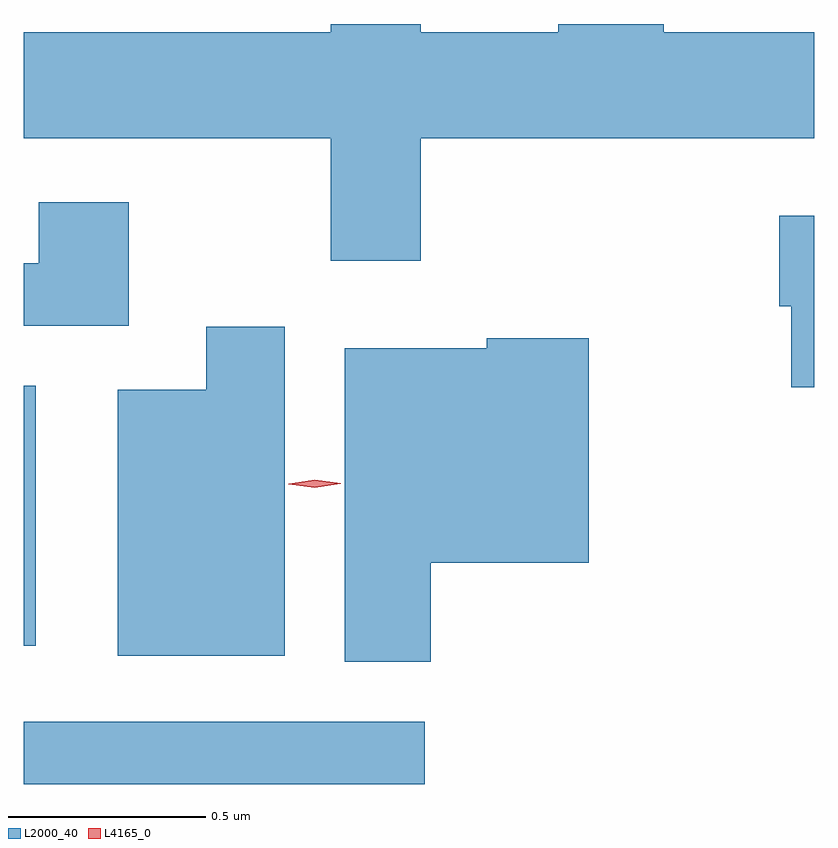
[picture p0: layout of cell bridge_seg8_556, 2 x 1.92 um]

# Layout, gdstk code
import gdstk
lib = gdstk.Library(unit=1e-6, precision=1e-09)
def R(c, l, rs):  # rectangles x0, y0, x1, y1
    for r in rs: c.add(gdstk.rectangle(r[:2], r[2:], *l))
def P(c, l, *ps):  # polygons
    for p in ps: c.add(gdstk.Polygon(p, *l))
L2000_40 = (2000, 40)
L4165_0 = (4165, 0)

bridge_seg8_556 = lib.new_cell('bridge_seg8_556')
R(bridge_seg8_556, L2000_40, [(553.384,1863.641,554.398,1863.799), (553.384,1863.991,553.414,1864.649)])
P(bridge_seg8_556, L2000_40, [(554.389,1865.276),(555.384,1865.276),(555.384,1865.544),(555.004,1865.544),(555.004,1865.565),(554.736,1865.565),(554.736,1865.544),(554.389,1865.544),(554.389,1865.565),(554.161,1865.565),(554.161,1865.544),(553.384,1865.544),(553.384,1865.276),(554.161,1865.276),(554.161,1864.966),(554.389,1864.966)],
  [(553.649,1865.114),(553.421,1865.114),(553.421,1864.959),(553.384,1864.959),(553.384,1864.801),(553.649,1864.801)],
  [(555.384,1865.079),(555.296,1865.079),(555.296,1864.851),(555.326,1864.851),(555.326,1864.646),(555.384,1864.646)],
  [(554.044,1864.799),(553.846,1864.799),(553.846,1864.639),(553.621,1864.639),(553.621,1863.966),(554.044,1863.966)],
  [(554.414,1864.201),(554.814,1864.201),(554.814,1864.769),(554.556,1864.769),(554.556,1864.744),(554.196,1864.744),(554.196,1863.951),(554.414,1863.951)])
P(bridge_seg8_556, L4165_0, [(554.12,1864.391),(554.054,1864.4),(554.053,1864.4),(554.054,1864.401),(554.12,1864.411),(554.186,1864.402),(554.186,1864.402),(554.186,1864.401)])

lib.write_gds('bridge_seg8_556.gds')
